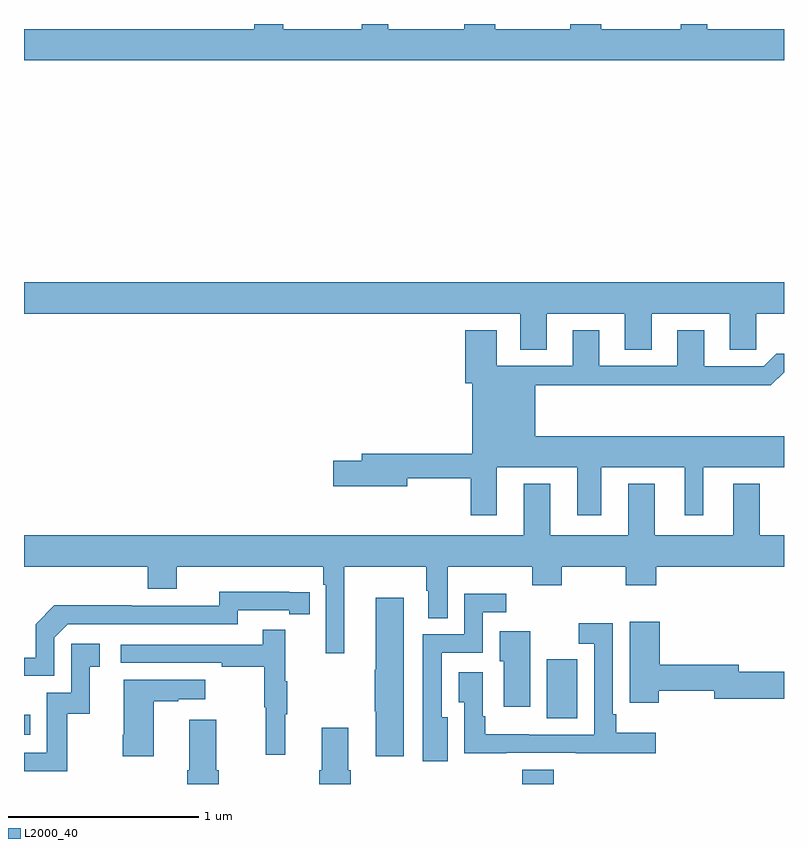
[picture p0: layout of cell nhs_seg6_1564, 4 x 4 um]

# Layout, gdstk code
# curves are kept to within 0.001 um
import gdstk
lib = gdstk.Library(unit=1e-6, precision=1e-09)
def R(c, l, rs):  # rectangles x0, y0, x1, y1
    for r in rs: c.add(gdstk.rectangle(r[:2], r[2:], *l))
def P(c, l, *ps):  # polygons
    for p in ps: c.add(gdstk.Polygon(p, *l))
L2000_40 = (2000, 40)

nhs_seg6_1564 = lib.new_cell('nhs_seg6_1564')
R(nhs_seg6_1564, L2000_40, [(207.623,971.5,207.788,971.575), (205,971.76,205.034,971.865), (207.752,971.845,207.913,972.156)])
P(nhs_seg6_1564, L2000_40, [(209,975.472),(208.595,975.472),(208.595,975.5),(208.457,975.5),(208.457,975.472),(208.039,975.472),(208.039,975.5),(207.875,975.5),(207.875,975.472),(207.481,975.472),(207.481,975.5),(207.317,975.5),(207.317,975.472),(206.917,975.472),(206.917,975.5),(206.777,975.5),(206.777,975.472),(206.365,975.472),(206.365,975.5),(206.213,975.5),(206.213,975.472),(205,975.472),(205,975.308),(209,975.308)],
  [(207.751,973.976),(208.163,973.976),(208.163,973.786),(208.303,973.786),(208.303,973.976),(208.715,973.976),(208.715,973.786),(208.854,973.786),(208.854,973.976),(209,973.976),(209,974.14),(205,974.14),(205,973.976),(207.611,973.976),(207.611,973.786),(207.751,973.786)],
  [(207.487,973.166),(207.911,973.166),(207.911,972.915),(208.039,972.915),(208.039,973.166),(208.478,973.166),(208.478,972.915),(208.576,972.915),(208.576,973.166),(209,973.166),(209,973.33),(207.691,973.33),(207.691,973.6),(208.675,973.6),(208.675,973.598),(208.931,973.598),(209,973.667),(209,973.765),(208.96,973.765),(208.893,973.698),(208.579,973.698),(208.579,973.888),(208.439,973.888),(208.439,973.701),(208.027,973.701),(208.027,973.888),(207.887,973.888),(207.887,973.701),(207.487,973.701),(207.487,973.888),(207.323,973.888),(207.323,973.608),(207.359,973.608),(207.359,973.238),(206.777,973.238),(206.777,973.202),(206.628,973.202),(206.628,973.067),(207.016,973.067),(207.016,973.11),(207.352,973.11),(207.352,972.915),(207.487,972.915)],
  [(207.831,972.644),(208.168,972.644),(208.168,972.545),(208.328,972.545),(208.328,972.644),(209,972.644),(209,972.808),(208.873,972.808),(208.873,973.081),(208.733,973.081),(208.733,972.808),(208.321,972.808),(208.321,973.081),(208.181,973.081),(208.181,972.808),(207.769,972.808),(207.769,973.081),(207.629,973.081),(207.629,972.808),(205,972.808),(205,972.644),(205.652,972.644),(205.652,972.527),(205.804,972.527),(205.804,972.644),(206.576,972.644),(206.576,972.548),(206.589,972.548),(206.589,972.189),(206.686,972.189),(206.686,972.644),(207.118,972.644),(207.118,972.516),(207.128,972.516),(207.128,972.373),(207.229,972.373),(207.229,972.644),(207.676,972.644),(207.676,972.545),(207.831,972.545)],
  [(205.158,972.27),(205.23,972.342),(206.124,972.342),(206.124,972.414),(206.396,972.414),(206.396,972.394),(206.504,972.394),(206.504,972.51),(206.028,972.511),(206.028,972.438),(205.568,972.438),(205.568,972.44),(205.16,972.44),(205.062,972.342),(205.062,972.165),(205,972.165),(205,972.069),(205.158,972.069)],
  [(207.229,971.851),(207.199,971.851),(207.199,972.192),(207.414,972.192),(207.414,972.405),(207.538,972.405),(207.538,972.502),(207.318,972.502),(207.318,972.288),(207.098,972.288),(207.098,971.619),(207.229,971.619)],
  [(206.998,972.481),(206.852,972.481),(206.852,972.101),(206.845,972.101),(206.845,971.884),(206.852,971.884),(206.852,971.646),(206.998,971.646)],
  [(208.341,971.992),(208.634,971.992),(208.634,971.95),(209,971.95),(209,972.092),(208.762,972.092),(208.762,972.128),(208.346,972.128),(208.346,972.355),(208.187,972.355),(208.187,971.928),(208.341,971.928)],
  [(207.539,971.664),(207.905,971.664),(207.905,971.663),(208.324,971.663),(208.324,971.77),(208.118,971.77),(208.118,971.866),(208.098,971.866),(208.098,972.346),(207.921,972.346),(207.921,972.237),(208.002,972.237),(208.002,971.76),(207.656,971.76),(207.656,971.761),(207.427,971.761),(207.427,971.857),(207.414,971.857),(207.414,972.088),(207.287,972.088),(207.287,971.929),(207.318,971.929),(207.318,971.663),(207.539,971.663)],
  [(206.375,971.867),(206.386,971.867),(206.386,972.041),(206.375,972.041),(206.375,972.313),(206.257,972.313),(206.257,972.234),(205.509,972.234),(205.509,972.138),(206.041,972.138),(206.041,972.118),(206.265,972.118),(206.265,971.904),(206.272,971.904),(206.272,971.655),(206.375,971.655)],
  [(207.664,972.304),(207.503,972.304),(207.503,972.147),(207.524,972.147),(207.524,971.907),(207.664,971.907)],
  [(205.228,971.871),(205.346,971.871),(205.346,972.117),(205.399,972.117),(205.399,972.238),(205.248,972.238),(205.248,971.979),(205.119,971.979),(205.119,971.664),(205,971.664),(205,971.568),(205.228,971.568)],
  [(205.684,971.935),(205.811,971.935),(205.811,971.945),(205.954,971.945),(205.954,972.049),(205.526,972.049),(205.526,971.758),(205.519,971.758),(205.519,971.646),(205.684,971.646)],
  [(206.024,971.572),(206.011,971.572),(206.011,971.839),(205.871,971.839),(205.871,971.572),(205.859,971.572),(205.859,971.5),(206.024,971.5)],
  [(206.72,971.572),(206.707,971.572),(206.707,971.797),(206.567,971.797),(206.567,971.572),(206.555,971.572),(206.555,971.5),(206.72,971.5)])

lib.write_gds('nhs_seg6_1564.gds')
